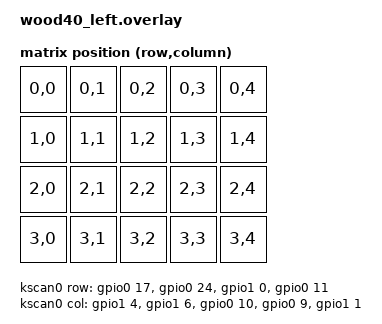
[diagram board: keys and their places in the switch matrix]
#include <dt-bindings/gpio/gpio.h>
#include <dt-bindings/zmk/matrix_transform.h>

/ {
    chosen {
        zmk,kscan = &kscan0;
        zmk,matrix-transform = &wood40_transform;
    };

    kscan0: kscan {
        compatible = "zmk,kscan-gpio-matrix";
        diode-direction = "row2col";

        row-gpios = <&gpio0 17 GPIO_ACTIVE_HIGH>,
                    <&gpio0 24 GPIO_ACTIVE_HIGH>,
                    <&gpio1  0 GPIO_ACTIVE_HIGH>,
                    <&gpio0 11 GPIO_ACTIVE_HIGH>;

        col-gpios = <&gpio1  4 (GPIO_ACTIVE_HIGH | GPIO_PULL_DOWN)>,
                    <&gpio1  6 (GPIO_ACTIVE_HIGH | GPIO_PULL_DOWN)>,
                    <&gpio0 10 (GPIO_ACTIVE_HIGH | GPIO_PULL_DOWN)>,
                    <&gpio0  9 (GPIO_ACTIVE_HIGH | GPIO_PULL_DOWN)>,
                    <&gpio1  1 (GPIO_ACTIVE_HIGH | GPIO_PULL_DOWN)>;
    };

    wood40_transform: matrix_transform {
        compatible = "zmk,matrix-transform";
        rows = <4>;
        columns = <5>;
        map = <
            RC(0,0) RC(0,1) RC(0,2) RC(0,3) RC(0,4)
            RC(1,0) RC(1,1) RC(1,2) RC(1,3) RC(1,4)
            RC(2,0) RC(2,1) RC(2,2) RC(2,3) RC(2,4)
            RC(3,0) RC(3,1) RC(3,2) RC(3,3) RC(3,4)
        >;
    };
};
